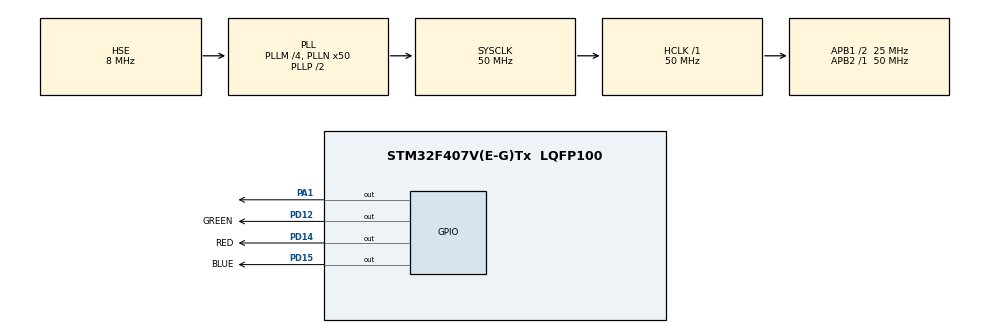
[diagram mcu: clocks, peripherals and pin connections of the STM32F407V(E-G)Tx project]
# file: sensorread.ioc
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Mcu.Family=STM32F4
RCC.PLLSourceVirtual=RCC_PLLSOURCE_HSE
PD12.GPIO_Label=GREEN
PH0-OSC_IN.Signal=RCC_OSC_IN
RCC.CortexFreq_Value=50000000
PD15.GPIO_Label=BLUE
TIM6.Prescaler=50-1
VP_TIM6_VS_ClockSourceINT.Mode=Enable_Timer
RCC.APB1CLKDivider=RCC_HCLK_DIV2
RCC.SYSCLKSource=RCC_SYSCLKSOURCE_PLLCLK
ProjectManager.StackSize=0x400
ProjectManager.TargetToolchain=STM32CubeIDE
RCC.HCLKFreq_Value=50000000
RCC.APB2TimFreq_Value=50000000
RCC.LSE_VALUE=32768
PA1.Signal=GPIO_Output
RCC.AHBFreq_Value=50000000
PH0-OSC_IN.Mode=HSE-External-Oscillator
RCC.HSE_VALUE=8000000
board=custom
RCC.VCOOutputFreq_Value=100000000
RCC.APB2Freq_Value=50000000
PH1-OSC_OUT.Signal=RCC_OSC_OUT
PD14.GPIO_Label=RED
TIM6.Period=0xffff-1
Mcu.Name=STM32F407V(E-G)Tx
PD14.Signal=GPIO_Output
PH1-OSC_OUT.Mode=HSE-External-Oscillator
RCC.48MHZClocksFreq_Value=25000000
RCC.SYSCLKFreq_VALUE=50000000
Mcu.Package=LQFP100
PD12.Signal=GPIO_Output
ProjectManager.HeapSize=0x200
RCC.HSI_VALUE=16000000
NVIC.PriorityGroup=NVIC_PRIORITYGROUP_4
RCC.PLLM=4
RCC.PLLN=50
RCC.APB1TimFreq_Value=50000000
RCC.APB1Freq_Value=25000000
PD15.Signal=GPIO_Output

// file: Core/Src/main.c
/* USER CODE BEGIN Header */
/**
  ******************************************************************************
  * @file           : main.c
  * @brief          : Main program body
  ******************************************************************************
  * @attention
  *
  * <h2><center>&copy; Copyright (c) 2022 STMicroelectronics.
  * All rights reserved.</center></h2>
  *
  * This software component is licensed by ST under BSD 3-Clause license,
  * the "License"; You may not use this file except in compliance with the
  * License. You may obtain a copy of the License at:
  *                        opensource.org/licenses/BSD-3-Clause
  *
  ******************************************************************************
  */
/* USER CODE END Header */
#include "main.h"

TIM_HandleTypeDef htim6;

void SystemClock_Config(void);
static void MX_GPIO_Init(void);
static void MX_TIM6_Init(void);

/* USER CODE BEGIN 0 */
uint16_t Value_Buf[2];

void delay (uint16_t time)
{
	/* change your code here for the delay in microseconds */
	__HAL_TIM_SET_COUNTER(&htim6, 0);
	while ((__HAL_TIM_GET_COUNTER(&htim6))<time);
}
uint8_t Rh_byte1, Rh_byte2, Temp_byte1, Temp_byte2;
uint16_t SUM, RH, TEMP;

float Temperature = 0;
float Humidity = 0;
uint8_t Presence = 0;

void Set_Pin_Output (GPIO_TypeDef *GPIOx, uint16_t GPIO_Pin)
{
	GPIO_InitTypeDef GPIO_InitStruct = {0};
	GPIO_InitStruct.Pin = GPIO_Pin;
	GPIO_InitStruct.Mode = GPIO_MODE_OUTPUT_PP;
	GPIO_InitStruct.Speed = GPIO_SPEED_FREQ_LOW;
	HAL_GPIO_Init(GPIOx, &GPIO_InitStruct);
}

void Set_Pin_Input (GPIO_TypeDef *GPIOx, uint16_t GPIO_Pin)
{
	GPIO_InitTypeDef GPIO_InitStruct = {0};
	GPIO_InitStruct.Pin = GPIO_Pin;
	GPIO_InitStruct.Mode = GPIO_MODE_INPUT;
	GPIO_InitStruct.Pull = GPIO_PULLUP;
	HAL_GPIO_Init(GPIOx, &GPIO_InitStruct);
}
/*********************************** DHT11 FUNCTIONS ********************************************/

#define DHT11_PORT GPIOA
#define DHT11_PIN GPIO_PIN_1

void DHT11_Start (void)
{
	Set_Pin_Output (DHT11_PORT, DHT11_PIN);  // set the pin as output
	HAL_GPIO_WritePin (DHT11_PORT, DHT11_PIN, 0);   // pull the pin low
	delay (18000);   // wait for 18ms
    HAL_GPIO_WritePin (DHT11_PORT, DHT11_PIN, 1);   // pull the pin high
	delay (20);   // wait for 20us
	Set_Pin_Input(DHT11_PORT, DHT11_PIN);    // set as input
}

uint8_t DHT11_Check_Response (void)
{
	uint8_t Response = 0;
	delay (40);
	if (!(HAL_GPIO_ReadPin (DHT11_PORT, DHT11_PIN)))
	{
		delay (80);
		if ((HAL_GPIO_ReadPin (DHT11_PORT, DHT11_PIN))) Response = 1;
		else Response = -1; // 255
	}
	while ((HAL_GPIO_ReadPin (DHT11_PORT, DHT11_PIN)));   // wait for the pin to go low

	return Response;
}

uint8_t DHT11_Read (void)
{
	uint8_t i,j;
	for (j=0;j<8;j++)
	{
		while (!(HAL_GPIO_ReadPin (DHT11_PORT, DHT11_PIN)));   // wait for the pin to go high
		delay (40);   // wait for 40 us
		if (!(HAL_GPIO_ReadPin (DHT11_PORT, DHT11_PIN)))   // if the pin is low
		{
			i&= ~(1<<(7-j));   // write 0
		}
		else i|= (1<<(7-j));  // if the pin is high, write 1
		while ((HAL_GPIO_ReadPin (DHT11_PORT, DHT11_PIN)));  // wait for the pin to go low
	}
	return i;
}
/* USER CODE END 0 */

int main(void)
{

  /* MCU Configuration--------------------------------------------------------*/

  /* Reset of all peripherals, Initializes the Flash interface and the Systick. */
  HAL_Init();

  /* Configure the system clock */
  SystemClock_Config();

  /* Initialize all configured peripherals */
  MX_GPIO_Init();
  MX_TIM6_Init();
  /* USER CODE BEGIN 2 */
//  ESP_Init("Nicolle", "nicolle789");
  //HAL_GPIO_WritePin(GPIOD, GREEN_Pin, GPIO_PIN_SET);
  //HAL_Delay(1000);
  //HAL_GPIO_WritePin(GPIOD, GREEN_Pin, GPIO_PIN_RESET); //trava aqui
  HAL_TIM_Base_Start(&htim6);
  /* USER CODE END 2 */

  /* Infinite loop */
  while (1)
  {

    /* USER CODE BEGIN 3 */
	  /********************** DHT11 *********************/
	  DHT11_Start();
	  Presence = DHT11_Check_Response();
	  Rh_byte1 = DHT11_Read ();
	  Rh_byte2 = DHT11_Read ();
	  Temp_byte1 = DHT11_Read ();
	  Temp_byte2 = DHT11_Read ();
	  SUM = DHT11_Read();

	  TEMP = Temp_byte1;
	  RH = Rh_byte1;

	  Temperature = (float) TEMP;
	  Humidity = (float) RH;
	  if (Humidity>80)
	  	  {
		  HAL_GPIO_TogglePin(GPIOD, BLUE_Pin);
		 // HAL_GPIO_WritePin(GPIOD, BLUE_Pin, GPIO_PIN_RESET);
	  	  }
	  else
	  {
		  HAL_GPIO_TogglePin(GPIOD, RED_Pin);
		  //HAL_GPIO_WritePin(GPIOD, RED_Pin, GPIO_PIN_RESET);

	  }

	  HAL_Delay(1000);
//Value_Buf[0]= Temperature;
//Value_Buf[1]= Humidity;
//ESP_Send_Multi("MY2LX8HJ4J9KKCVO", 2, Value_Buf);
//HAL_Delay(15000);

  }
  /* USER CODE END 3 */
}

void SystemClock_Config(void)
{
  RCC_OscInitTypeDef RCC_OscInitStruct = {0};
  RCC_ClkInitTypeDef RCC_ClkInitStruct = {0};

  /** Configure the main internal regulator output voltage
  */
  __HAL_RCC_PWR_CLK_ENABLE();
  __HAL_PWR_VOLTAGESCALING_CONFIG(PWR_REGULATOR_VOLTAGE_SCALE1);
  /** Initializes the RCC Oscillators according to the specified parameters
  * in the RCC_OscInitTypeDef structure.
  */
  RCC_OscInitStruct.OscillatorType = RCC_OSCILLATORTYPE_HSE;
  RCC_OscInitStruct.HSEState = RCC_HSE_ON;
  RCC_OscInitStruct.PLL.PLLState = RCC_PLL_ON;
  RCC_OscInitStruct.PLL.PLLSource = RCC_PLLSOURCE_HSE;
  RCC_OscInitStruct.PLL.PLLM = 4;
  RCC_OscInitStruct.PLL.PLLN = 50;
  RCC_OscInitStruct.PLL.PLLP = RCC_PLLP_DIV2;
  RCC_OscInitStruct.PLL.PLLQ = 4;
  if (HAL_RCC_OscConfig(&RCC_OscInitStruct) != HAL_OK)
  {
    Error_Handler();
  }
  /** Initializes the CPU, AHB and APB buses clocks
  */
  RCC_ClkInitStruct.ClockType = RCC_CLOCKTYPE_HCLK|RCC_CLOCKTYPE_SYSCLK
                              |RCC_CLOCKTYPE_PCLK1|RCC_CLOCKTYPE_PCLK2;
  RCC_ClkInitStruct.SYSCLKSource = RCC_SYSCLKSOURCE_PLLCLK;
  RCC_ClkInitStruct.AHBCLKDivider = RCC_SYSCLK_DIV1;
  RCC_ClkInitStruct.APB1CLKDivider = RCC_HCLK_DIV2;
  RCC_ClkInitStruct.APB2CLKDivider = RCC_HCLK_DIV1;

  if (HAL_RCC_ClockConfig(&RCC_ClkInitStruct, FLASH_LATENCY_1) != HAL_OK)
  {
    Error_Handler();
  }
}

static void MX_TIM6_Init(void)
{

  TIM_MasterConfigTypeDef sMasterConfig = {0};

  htim6.Instance = TIM6;
  htim6.Init.Prescaler = 50-1;
  htim6.Init.CounterMode = TIM_COUNTERMODE_UP;
  htim6.Init.Period = 0xffff-1;
  htim6.Init.AutoReloadPreload = TIM_AUTORELOAD_PRELOAD_DISABLE;
  if (HAL_TIM_Base_Init(&htim6) != HAL_OK)
  {
    Error_Handler();
  }
  sMasterConfig.MasterOutputTrigger = TIM_TRGO_RESET;
  sMasterConfig.MasterSlaveMode = TIM_MASTERSLAVEMODE_DISABLE;
  if (HAL_TIMEx_MasterConfigSynchronization(&htim6, &sMasterConfig) != HAL_OK)
  {
    Error_Handler();
  }

}

static void MX_GPIO_Init(void)
{
  GPIO_InitTypeDef GPIO_InitStruct = {0};

  /* GPIO Ports Clock Enable */
  __HAL_RCC_GPIOH_CLK_ENABLE();
  __HAL_RCC_GPIOA_CLK_ENABLE();
  __HAL_RCC_GPIOD_CLK_ENABLE();

  /*Configure GPIO pin Output Level */
  HAL_GPIO_WritePin(GPIOA, GPIO_PIN_1, GPIO_PIN_RESET);

  /*Configure GPIO pin Output Level */
  HAL_GPIO_WritePin(GPIOD, GREEN_Pin|RED_Pin|BLUE_Pin, GPIO_PIN_RESET);

  /*Configure GPIO pin : PA1 */
  GPIO_InitStruct.Pin = GPIO_PIN_1;
  GPIO_InitStruct.Mode = GPIO_MODE_OUTPUT_PP;
  GPIO_InitStruct.Pull = GPIO_NOPULL;
  GPIO_InitStruct.Speed = GPIO_SPEED_FREQ_LOW;
  HAL_GPIO_Init(GPIOA, &GPIO_InitStruct);

  /*Configure GPIO pins : GREEN_Pin RED_Pin BLUE_Pin */
  GPIO_InitStruct.Pin = GREEN_Pin|RED_Pin|BLUE_Pin;
  GPIO_InitStruct.Mode = GPIO_MODE_OUTPUT_PP;
  GPIO_InitStruct.Pull = GPIO_NOPULL;
  GPIO_InitStruct.Speed = GPIO_SPEED_FREQ_LOW;
  HAL_GPIO_Init(GPIOD, &GPIO_InitStruct);

}

void Error_Handler(void)
{
  __disable_irq();
  while (1)
  {
  }
}

/************************ (C) COPYRIGHT STMicroelectronics *****END OF FILE****/
